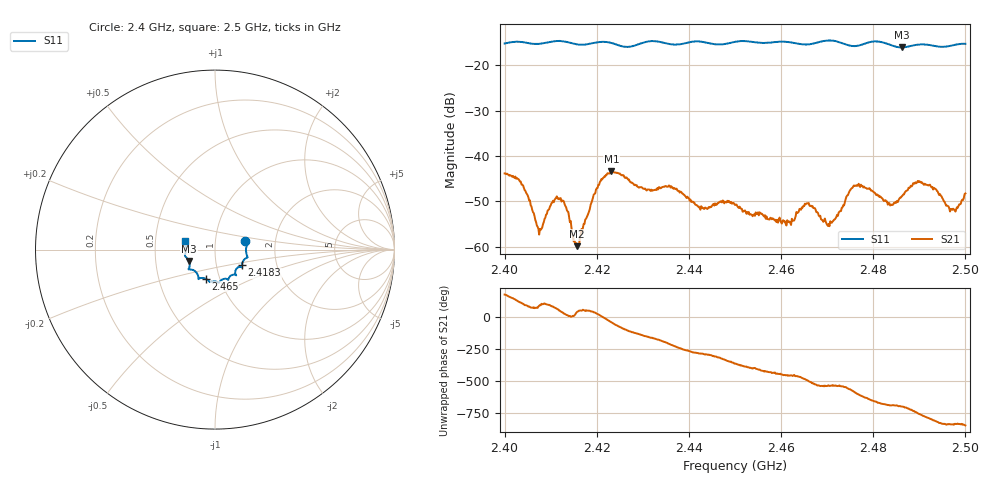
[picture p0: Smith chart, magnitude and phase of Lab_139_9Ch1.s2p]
# Hz S RI R 50
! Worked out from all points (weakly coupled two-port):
!   601 points, 2.4 GHz to 2.5 GHz, reference 50 ohm
!   highest |S21| = -43.36 dB at 2.4232 GHz (marker M1); lowest = -59.9 dB at 2.4157 GHz (marker M2)
!   lowest |S11| = -16.0 dB at 2.4862 GHz (marker M3), VSWR 1.37, Z = 37.1 - j4.81 ohm
!   |S11| at or under -10 dB: start of sweep to end of sweep
!   S12 and S22 are empty: the file has one direction only
!   S11 on the Smith chart (normalised r, x): 2.4 GHz: 1.40, +0.13; 2.4183 GHz: 1.33, -0.24; 2.465 GHz: 0.86, -0.29; 2.5 GHz: 0.71, +0.07
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2.4e9  0.1687 0.0458  -0.00641 0.000467  0 0  0 0
2.4035e9  0.1797 0.0298  -0.00207 0.0048  0 0  0 0
2.4075e9  0.1731 -0.00956  4.22e-05 0.00136  0 0  0 0
2.410833e9  0.1811 -0.0386  0.000865 0.00316  0 0  0 0
2.4125e9  0.1806 -0.043  0.00254 0.002  0 0  0 0
2.415667e9  0.1609 -0.058  0.000792 0.00063  0 0  0 0
2.416667e9  0.155 -0.0683  0.000991 0.00121  0 0  0 0
2.418333e9  0.15 -0.0869  0.00156 0.00189  0 0  0 0
2.423167e9  0.1482 -0.0976  0.00514 -0.00445  0 0  0 0
2.433333e9  0.1168 -0.1413  -0.00427 -0.000359  0 0  0 0
2.442833e9  0.0724 -0.1676  0.000701 0.00259  0 0  0 0
2.45e9  0.0249 -0.1807  0.00288 -0.000159  0 0  0 0
2.461667e9  -0.0317 -0.1783  -0.000135 -0.00189  0 0  0 0
2.465e9  -0.0528 -0.1621  -0.00145 -0.0024  0 0  0 0
2.466667e9  -0.0714 -0.1575  -0.0025 -0.0012  0 0  0 0
2.4705e9  -0.0925 -0.1646  -0.00168 -9.3e-05  0 0  0 0
2.476333e9  -0.1142 -0.1178  -0.00281 0.00384  0 0  0 0
2.483333e9  -0.1421 -0.0959  0.00245 0.00175  0 0  0 0
2.486167e9  -0.1447 -0.0632  0.0033 0.00139  0 0  0 0
2.490167e9  -0.1666 -0.0362  0.00414 -0.00312  0 0  0 0
2.4975e9  -0.1649 0.0319  -0.00122 -0.00226  0 0  0 0
2.5e9  -0.1668 0.0474  -0.00217 -0.0032  0 0  0 0
